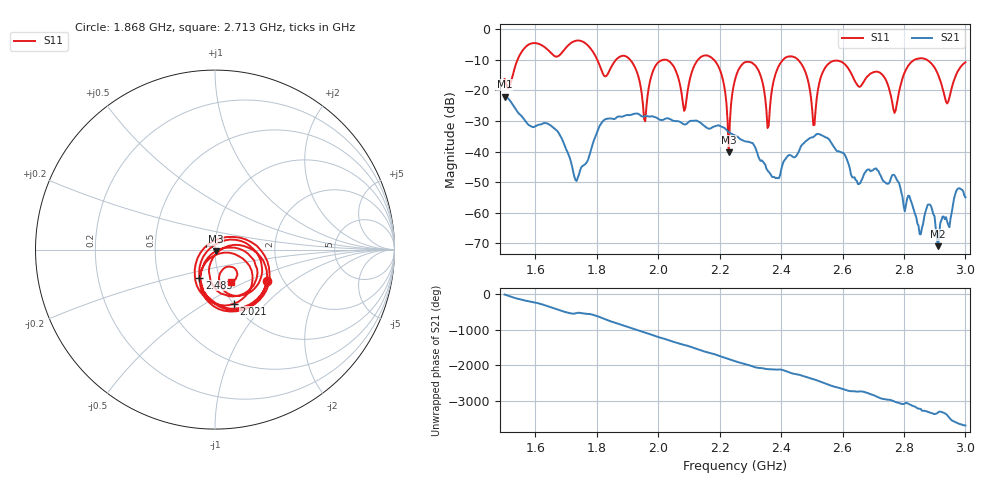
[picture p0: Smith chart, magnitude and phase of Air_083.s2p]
# HZ S RI R 50
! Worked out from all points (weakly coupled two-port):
!   404 points, 1.5 GHz to 3 GHz, reference 50 ohm
!   highest |S21| = -21.99 dB at 1.5 GHz (marker M1); lowest = -71.0 dB at 2.911 GHz (marker M2)
!   lowest |S11| = -40.3 dB at 2.23 GHz (marker M3), VSWR 1.02, Z = 50.4 - j0.889 ohm
!   |S11| at or under -10 dB: 2.182 GHz to 2.406 GHz (224 MHz wide, 9.77 % of centre); 2.456 GHz to 2.833 GHz (377.6 MHz wide, 14.3 % of centre); 2.875 GHz to end of sweep (the widest 3 of 7)
!   S12 and S22 are empty: the file has one direction only
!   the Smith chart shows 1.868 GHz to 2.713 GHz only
!   S11 on the Smith chart (normalised r, x): 1.868 GHz: 1.66, -0.66; 2.021 GHz: 1.00, -0.68; 2.483 GHz: 0.80, -0.26; 2.713 GHz: 1.11, -0.42
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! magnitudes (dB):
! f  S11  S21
! 1.5 GHz  -16.3  -22.0
! 1.582 GHz  -4.8  -31.5
! 1.753 GHz  -3.9  -44.8
! 1.868 GHz  -9.4  -28.6
! 1.958 GHz  -30.1  -28.4
! 2.002 GHz  -10.6  -29.5
! 2.021 GHz  -9.9  -29.3
! 2.084 GHz  -26.7  -31.1
! 2.177 GHz  -9.6  -32.0
! 2.23 GHz  -40.3  -33.6
! 2.252 GHz  -15.8  -34.8
! 2.315 GHz  -11.7  -38.5
! 2.356 GHz  -32.3  -46.2
! 2.386 GHz  -13.5  -48.6
! 2.483 GHz  -15.0  -36.4
! 2.501 GHz  -26.2  -35.3
! 2.565 GHz  -10.5  -37.4
! 2.713 GHz  -13.8  -46.1
! 2.751 GHz  -19.0  -50.5
! 2.911 GHz  -14.7  -71.0
! 2.94 GHz  -24.2  -62.9
! 3 GHz  -10.8  -55.0
